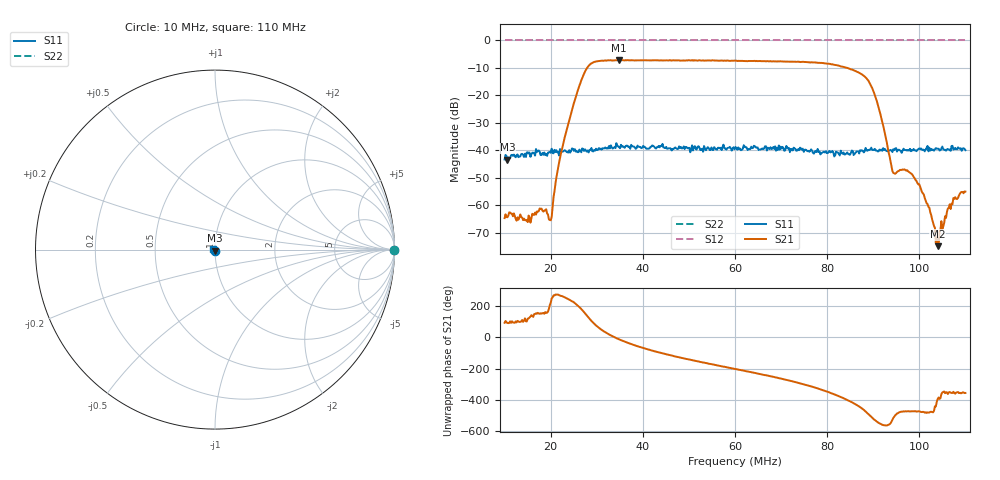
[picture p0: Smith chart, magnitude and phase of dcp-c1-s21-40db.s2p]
! Anritsu VNA Master:  Model: MS2034B/10/19/501
! SN:  1337062
! /bd0/ovro-jan-2016/dcp-c1-s21-40db.s2p
! Existing Calibration Information:
! TYPE:  Current Settings,  Active Cal Settings
! TIME:  01/10/2016 05:30:59 PM,  01/10/2016 03:13:30 PM
! INTERNAL TEMP:  42.5 C,  45.8 C
! # POINTS:  500,  500
! START FREQ:  10.000 MHz,  10.000 MHz
! STOP FREQ:  110.000 MHz,  110.000 MHz
! SOURCE POWER:  Low,  Low
! IFBW:  100 Hz,  100 Hz
! AVG FACTOR:  3 ,  3
! REF PLANE 1:  2.2245 m,  2.2245 m
! REF PLANE 2:  0 mm,  0 mm
! CAL TYPE:  1P2P S11,S21,  1P2P S11,S21
! CAL METHOD:  SOLT,  SOLT
! CAL LINE TYPE:  Coax,  Coax
! DUT PORT 1:  K-Conn(M),  K-Conn(M)
! DUT PORT 2:  N-Conn(M),  N-Conn(M)
! CAL STATUS:  OK: Accuracy High,  --
# GHZ S DB R 50.0
! FREQ.GHZ  S11DB  S11A  S21DB  S21A  S12DB  S12A  S22DB  S22A
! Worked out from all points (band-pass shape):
!   500 points, 10 MHz to 110 MHz, reference 50 ohm
!   highest |S21| = -7.14 dB at 34.85 MHz (marker M1); lowest = -74.8 dB at 104 MHz (marker M2)
!   |S21| within 3 dB of the highest: 27.84 MHz to 84.62 MHz (56.79 MHz wide, 101 % of centre)
!   lowest |S11| = -43.4 dB at 10.6 MHz (marker M3), VSWR 1.01, Z = 49.8 - j0.639 ohm
!   |S11| at or under -10 dB: start of sweep to end of sweep
!   |S22| runs from 0.0 to 0.0 dB; largest |S21 - S12| = 1.4
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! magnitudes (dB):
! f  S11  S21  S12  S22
! 10 MHz  -43.3  -64.6  0.0  0.0
! 10.6 MHz  -43.4  -64.3  0.0  0.0
! 14.61 MHz  -42.4  -65.4  0.0  0.0
! 17.82 MHz  -41.7  -61.3  0.0  0.0
! 20.02 MHz  -40.9  -65.4  0.0  0.0
! 22.42 MHz  -40.4  -39.8  0.0  0.0
! 26.83 MHz  -39.3  -13.7  0.0  0.0
! 29.04 MHz  -40.2  -8.1  0.0  0.0
! 34.85 MHz  -38.8  -7.1  0.0  0.0
! 43.47 MHz  -38.4  -7.2  0.0  0.0
! 60.1 MHz  -38.8  -7.4  0.0  0.0
! 76.73 MHz  -40.1  -8.0  0.0  0.0
! 88.56 MHz  -40.0  -13.8  0.0  0.0
! 90.96 MHz  -40.4  -23.2  0.0  0.0
! 93.37 MHz  -39.9  -40.9  0.0  0.0
! 94.57 MHz  -39.8  -48.3  0.0  0.0
! 97.17 MHz  -39.9  -47.3  0.0  0.0
! 99.78 MHz  -39.5  -52.3  0.0  0.0
! 102.2 MHz  -39.0  -60.9  0.0  0.0
! 104 MHz  -39.4  -74.8  0.0  0.0
! 106.6 MHz  -39.7  -59.6  0.0  0.0
! 110 MHz  -39.9  -55.0  0.0  0.0
